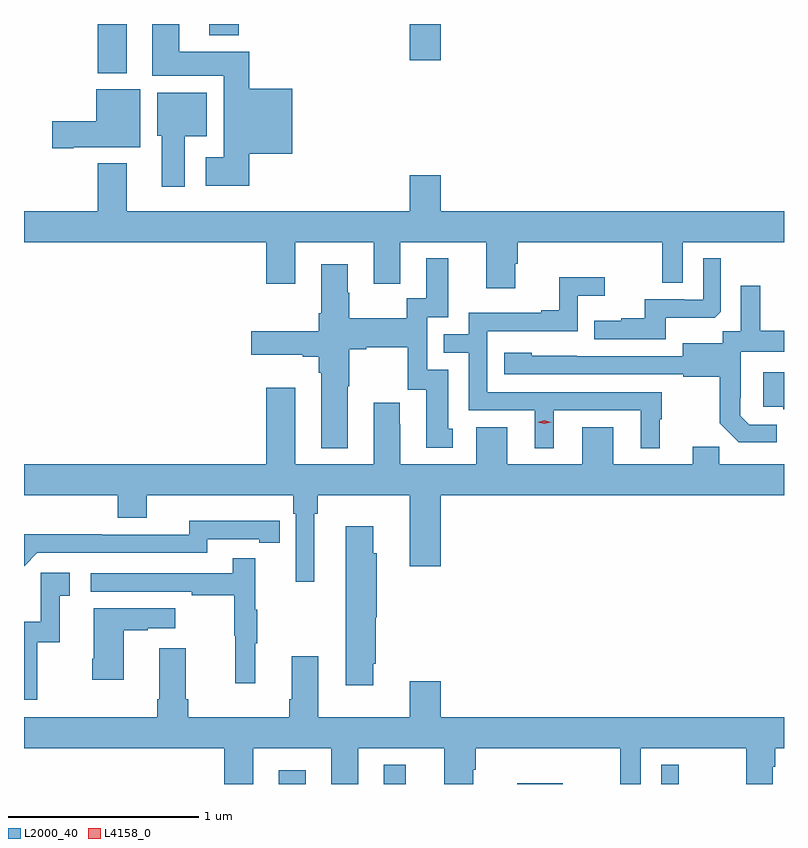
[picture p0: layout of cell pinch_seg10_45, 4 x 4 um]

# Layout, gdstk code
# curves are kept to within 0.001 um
import gdstk
lib = gdstk.Library(unit=1e-6, precision=1e-09)
def R(c, l, rs):  # rectangles x0, y0, x1, y1
    for r in rs: c.add(gdstk.rectangle(r[:2], r[2:], *l))
def P(c, l, *ps):  # polygons
    for p in ps: c.add(gdstk.Polygon(p, *l))
L2000_40 = (2000, 40)
L4158_0 = (4158, 0)

pinch_seg10_45 = lib.new_cell('pinch_seg10_45')
R(pinch_seg10_45, L2000_40, [(871.613,1296.133,871.753,1296.205), (872.165,1296.133,872.281,1296.235), (872.866,1296.133,873.106,1296.137), (873.624,1296.133,873.717,1296.235), (870.659,1299.875,870.811,1300.133), (872.3,1299.942,872.464,1300.133), (871.247,1300.073,871.4,1300.133)])
P(pinch_seg10_45, L2000_40, [(871.457,1299.449),(871.684,1299.449),(871.684,1299.793),(871.457,1299.793),(871.457,1299.988),(871.087,1299.988),(871.087,1300.133),(870.947,1300.133),(870.947,1299.86),(871.322,1299.86),(871.322,1299.433),(871.227,1299.433),(871.227,1299.281),(871.457,1299.281)],
  [(870.532,1299.485),(870.883,1299.485),(870.883,1299.79),(870.65,1299.79),(870.65,1299.62),(870.42,1299.62),(870.42,1299.478),(870.532,1299.478)],
  [(871.117,1299.542),(871.234,1299.542),(871.234,1299.772),(870.971,1299.772),(870.971,1299.546),(870.995,1299.546),(870.995,1299.276),(871.117,1299.276)],
  [(872.857,1298.871),(872.87,1298.871),(872.87,1298.984),(873.63,1298.984),(873.63,1298.77),(873.738,1298.77),(873.738,1298.984),(874.271,1298.984),(874.271,1299.148),(872.464,1299.148),(872.464,1299.337),(872.3,1299.337),(872.3,1299.148),(870.811,1299.148),(870.811,1299.4),(870.659,1299.4),(870.659,1299.148),(870.271,1299.148),(870.271,1298.984),(871.547,1298.984),(871.547,1298.766),(871.699,1298.766),(871.699,1298.984),(872.111,1298.984),(872.111,1298.766),(872.251,1298.766),(872.251,1298.984),(872.705,1298.984),(872.705,1298.742),(872.857,1298.742)],
  [(871.975,1298.227),(871.983,1298.227),(871.983,1298.42),(872.071,1298.42),(872.071,1298.432),(872.291,1298.432),(872.291,1298.208),(872.387,1298.208),(872.387,1297.902),(872.527,1297.902),(872.527,1298.004),(872.503,1298.004),(872.503,1298.313),(872.394,1298.313),(872.394,1298.589),(872.503,1298.589),(872.503,1298.899),(872.387,1298.899),(872.387,1298.69),(872.286,1298.69),(872.286,1298.584),(871.983,1298.584),(871.983,1298.718),(871.975,1298.718),(871.975,1298.869),(871.835,1298.869),(871.835,1298.611),(871.823,1298.611),(871.823,1298.515),(871.467,1298.515),(871.467,1298.393),(871.739,1298.393),(871.739,1298.381),(871.823,1298.381),(871.823,1298.297),(871.835,1298.297),(871.835,1297.901),(871.975,1297.901)],
  [(873.649,1298.588),(873.907,1298.588),(873.939,1298.619),(873.939,1298.899),(873.846,1298.899),(873.846,1298.682),(873.746,1298.682),(873.746,1298.685),(873.539,1298.685),(873.539,1298.584),(873.415,1298.584),(873.415,1298.572),(873.271,1298.572),(873.271,1298.475),(873.649,1298.475)],
  [(873.058,1298.1),(873.518,1298.1),(873.518,1297.901),(873.616,1297.901),(873.616,1298.052),(873.628,1298.052),(873.628,1298.196),(872.709,1298.196),(872.709,1298.517),(873.186,1298.517),(873.186,1298.702),(873.328,1298.702),(873.328,1298.801),(873.088,1298.801),(873.088,1298.626),(872.993,1298.626),(872.993,1298.613),(872.613,1298.613),(872.613,1298.499),(872.479,1298.499),(872.479,1298.403),(872.613,1298.403),(872.613,1298.1),(872.96,1298.1),(872.96,1297.901),(873.058,1297.901)],
  [(874.234,1298.025),(874.089,1298.025),(874.042,1298.072),(874.042,1298.167),(874.044,1298.167),(874.044,1298.408),(874.271,1298.408),(874.271,1298.518),(874.147,1298.518),(874.147,1298.755),(874.043,1298.755),(874.043,1298.516),(873.948,1298.516),(873.948,1298.452),(873.737,1298.452),(873.737,1298.385),(872.943,1298.386),(872.943,1298.404),(872.799,1298.404),(872.799,1298.289),(873.741,1298.289),(873.741,1298.277),(873.933,1298.277),(873.933,1298.031),(874.033,1297.931),(874.234,1297.931)],
  [(874.271,1298.299),(874.163,1298.299),(874.163,1298.118),(874.267,1298.118),(874.267,1298.106),(874.271,1298.106)],
  [(871.798,1297.556),(871.817,1297.556),(871.817,1297.652),(872.3,1297.652),(872.3,1297.278),(872.464,1297.278),(872.464,1297.652),(874.271,1297.652),(874.271,1297.816),(873.929,1297.816),(873.929,1297.907),(873.791,1297.907),(873.791,1297.816),(873.373,1297.816),(873.373,1298.011),(873.209,1298.011),(873.209,1297.816),(872.815,1297.816),(872.815,1298.011),(872.651,1298.011),(872.651,1297.816),(872.251,1297.816),(872.251,1298.027),(872.248,1298.027),(872.248,1298.14),(872.111,1298.14),(872.111,1297.816),(871.699,1297.816),(871.699,1298.218),(871.547,1298.218),(871.547,1297.816),(870.271,1297.816),(870.271,1297.652),(870.764,1297.652),(870.764,1297.535),(870.916,1297.535),(870.916,1297.652),(871.688,1297.652),(871.688,1297.556),(871.701,1297.556),(871.701,1297.197),(871.798,1297.197)],
  [(870.342,1297.35),(871.236,1297.35),(871.236,1297.422),(871.508,1297.422),(871.508,1297.402),(871.616,1297.402),(871.616,1297.518),(871.14,1297.519),(871.14,1297.446),(870.68,1297.446),(870.68,1297.448),(870.272,1297.448),(870.271,1297.279)],
  [(872.11,1296.766),(872.123,1296.766),(872.123,1297.011),(872.128,1297.011),(872.128,1297.347),(872.11,1297.347),(872.11,1297.489),(871.964,1297.489),(871.964,1296.654),(872.11,1296.654)],
  [(871.487,1296.875),(871.498,1296.875),(871.498,1297.049),(871.487,1297.049),(871.487,1297.321),(871.369,1297.321),(871.369,1297.242),(870.621,1297.242),(870.621,1297.146),(871.153,1297.146),(871.153,1297.126),(871.377,1297.126),(871.377,1296.912),(871.384,1296.912),(871.384,1296.663),(871.487,1296.663)],
  [(870.34,1296.879),(870.458,1296.879),(870.458,1297.125),(870.511,1297.125),(870.511,1297.246),(870.36,1297.246),(870.36,1296.987),(870.271,1296.987),(870.271,1296.576),(870.34,1296.576)],
  [(870.796,1296.943),(870.923,1296.943),(870.923,1296.953),(871.066,1296.953),(871.066,1297.057),(870.638,1297.057),(870.638,1296.793),(870.631,1296.793),(870.631,1296.681),(870.796,1296.681)],
  [(871.477,1296.32),(871.889,1296.32),(871.889,1296.133),(872.029,1296.133),(872.029,1296.32),(872.483,1296.32),(872.483,1296.133),(872.635,1296.133),(872.635,1296.207),(872.648,1296.207),(872.648,1296.32),(873.408,1296.32),(873.408,1296.133),(873.516,1296.133),(873.516,1296.32),(874.073,1296.32),(874.073,1296.133),(874.213,1296.133),(874.213,1296.224),(874.226,1296.224),(874.226,1296.32),(874.271,1296.32),(874.271,1296.484),(872.464,1296.484),(872.464,1296.673),(872.3,1296.673),(872.3,1296.484),(871.819,1296.484),(871.819,1296.805),(871.679,1296.805),(871.679,1296.58),(871.667,1296.58),(871.667,1296.484),(871.136,1296.484),(871.136,1296.58),(871.123,1296.58),(871.123,1296.847),(870.983,1296.847),(870.983,1296.58),(870.971,1296.58),(870.971,1296.484),(870.271,1296.484),(870.271,1296.32),(871.325,1296.32),(871.325,1296.133),(871.477,1296.133)])
P(pinch_seg10_45, L4158_0, [(873.009,1298.028),(872.974,1298.038),(872.973,1298.038),(872.974,1298.038),(873.009,1298.048),(873.044,1298.038),(873.045,1298.038),(873.044,1298.038)])

lib.write_gds('pinch_seg10_45.gds')
